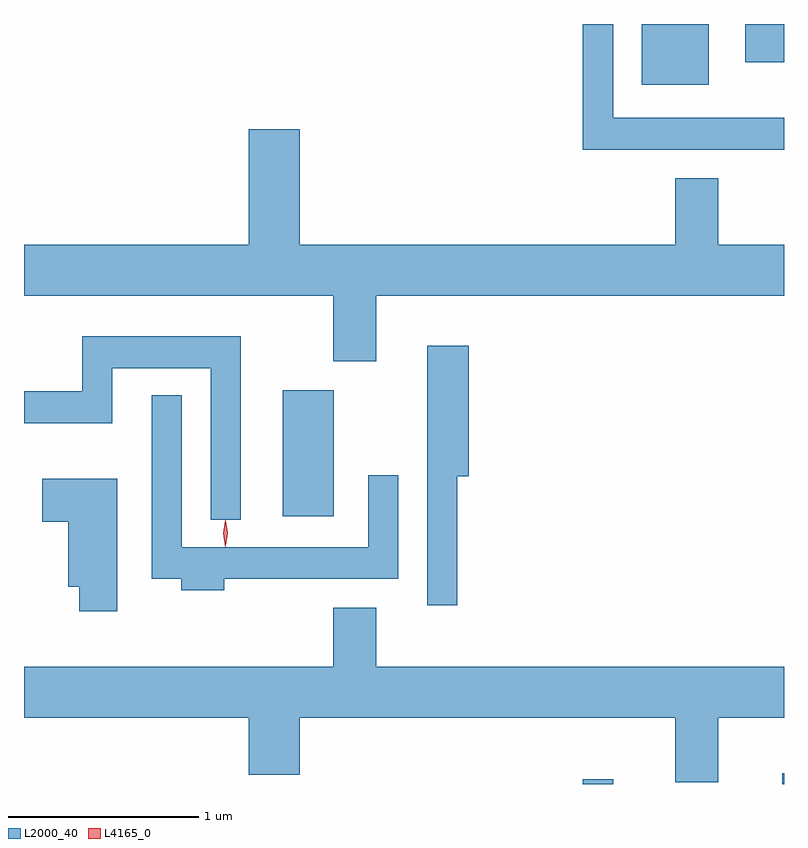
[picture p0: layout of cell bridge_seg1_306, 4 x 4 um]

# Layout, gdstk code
import gdstk
lib = gdstk.Library(unit=1e-6, precision=1e-09)
def R(c, l, rs):  # rectangles x0, y0, x1, y1
    for r in rs: c.add(gdstk.rectangle(r[:2], r[2:], *l))
def P(c, l, *ps):  # polygons
    for p in ps: c.add(gdstk.Polygon(p, *l))
L2000_40 = (2000, 40)
L4165_0 = (4165, 0)

bridge_seg1_306 = lib.new_cell('bridge_seg1_306')
R(bridge_seg1_306, L2000_40, [(876.176,885.907,876.334,885.933), (877.226,885.907,877.234,885.964), (874.596,887.316,874.864,887.979), (876.486,889.586,876.839,889.907), (877.031,889.706,877.234,889.907)])
P(bridge_seg1_306, L2000_40, [(877.234,889.414),(876.334,889.414),(876.334,889.907),(876.176,889.907),(876.176,889.246),(877.234,889.246)],
  [(875.089,888.476),(877.234,888.476),(877.234,888.744),(876.889,888.744),(876.889,889.094),(876.661,889.094),(876.661,888.744),(874.684,888.744),(874.684,889.354),(874.416,889.354),(874.416,888.744),(873.234,888.744),(873.234,888.476),(874.861,888.476),(874.861,888.131),(875.089,888.131)],
  [(874.374,888.264),(873.541,888.264),(873.541,887.974),(873.234,887.974),(873.234,887.806),(873.699,887.806),(873.699,888.096),(874.216,888.096),(874.216,887.298),(874.374,887.298)],
  [(875.514,887.526),(875.574,887.526),(875.574,888.214),(875.356,888.214),(875.356,886.848),(875.514,886.848)],
  [(874.289,886.986),(875.204,886.986),(875.204,887.533),(875.046,887.533),(875.046,887.154),(874.064,887.154),(874.064,887.953),(873.906,887.953),(873.906,886.986),(874.061,886.986),(874.061,886.926),(874.289,886.926)],
  [(873.724,887.514),(873.331,887.514),(873.331,887.286),(873.466,887.286),(873.466,886.946),(873.526,886.946),(873.526,886.816),(873.724,886.816)],
  [(876.889,886.256),(877.234,886.256),(877.234,886.524),(875.089,886.524),(875.089,886.834),(874.861,886.834),(874.861,886.524),(873.234,886.524),(873.234,886.256),(874.416,886.256),(874.416,885.956),(874.684,885.956),(874.684,886.256),(876.661,886.256),(876.661,885.916),(876.889,885.916)])
P(bridge_seg1_306, L4165_0, [(874.292,887.157),(874.292,887.157),(874.282,887.227),(874.292,887.296),(874.292,887.296),(874.293,887.296),(874.302,887.227),(874.293,887.157)],
  [(874.296,887.159),(874.296,887.16),(874.286,887.226),(874.296,887.292),(874.296,887.293),(874.296,887.292),(874.306,887.226),(874.296,887.16)])

lib.write_gds('bridge_seg1_306.gds')
